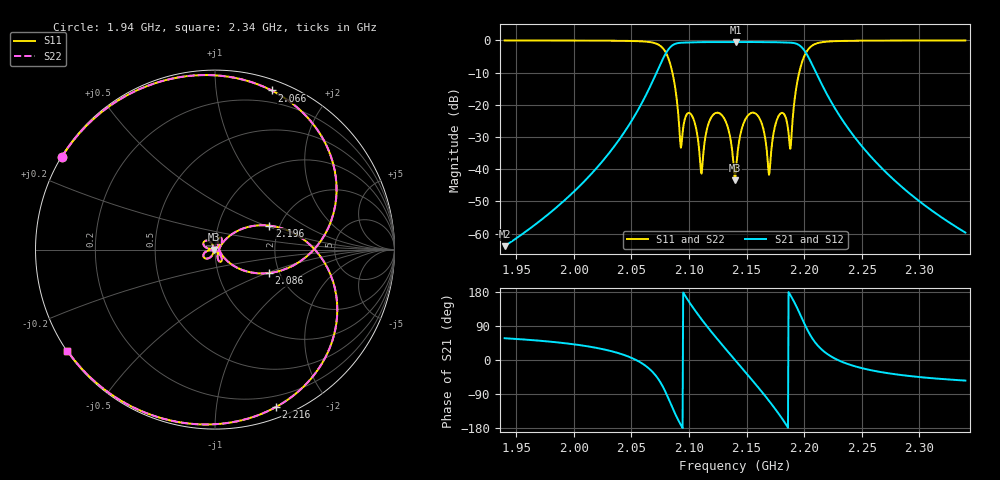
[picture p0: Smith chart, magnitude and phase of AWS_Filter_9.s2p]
!Port 1 is shunt  connected
!Port 2 is shunt  connected
!prototype= pole placed tchebycheff
!n=  5,  np= 0,  rl=  22.000dB
!transform= band pass
!f0= 2140.000MHz,  bw=  100.000MHz, q0=1200.000
!fstart= 1940.000MHz, fstep=  0.500MHz, fstop= 2340.000MHz
# MHZ S MA R 50
!Freq  Mag(S11)  Arg(S11)  Mag(S21)  Arg(S21)  Mag(S12)  Arg(S12)  Mag(S22)  Arg(S22)
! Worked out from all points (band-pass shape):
!   801 points, 1.94 GHz to 2.34 GHz, reference 50 ohm
!   highest |S21| = -0.48 dB at 2.14 GHz (marker M1); lowest = -63.9 dB at 1.94 GHz (marker M2)
!   |S21| within 3 dB of the highest: 2.081 GHz to 2.201 GHz (120 MHz wide, 5.61 % of centre)
!   lowest |S11| = -43.4 dB at 2.14 GHz (marker M3), VSWR 1.01, Z = 49.3 - j0.000127 ohm
!   |S11| at or under -10 dB: 2.086 GHz to 2.196 GHz (110.1 MHz wide, 5.14 % of centre)
!   |S22| runs from -43.4 to 0.0 dB; largest |S21 - S12| = 0
!   S11 on the Smith chart (normalised r, x): 1.94 GHz: 0.00, +0.28; 2.066 GHz: 0.09, +1.41; 2.086 GHz: 1.75, -0.51; 2.196 GHz: 1.77, +0.53; 2.216 GHz: 0.10, -1.46; 2.34 GHz: 0.00, -0.31
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1940  0.9973 148.8  0.0006386 57.4  0.0006386 57.4  0.9973 148.8
2007  0.9933 130.6  0.005916 38.5  0.005916 38.5  0.9933 130.6
2066  0.9413 70.4  0.1864 -24.3  0.1864 -24.3  0.9413 70.4
2073.5  0.8597 45.2  0.3652 -50.6  0.3652 -50.6  0.8597 45.2
2085.5  0.3258 -23.7  0.8344 -124.6  0.8344 -124.6  0.3258 -23.7
2093  0.02159 15.4  0.9184 -171.4  0.9184 -171.4  0.02159 15.4
2101.5  0.07234 59.5  0.9303 147.3  0.9303 147.3  0.07234 59.5
2112.5  0.01755 164.3  0.94 101.3  0.94 101.3  0.01755 164.3
2117.5  0.05405 166.2  0.9409 81.9  0.9409 81.9  0.05405 166.2
2126  0.07458 141.1  0.942 50.3  0.942 50.3  0.07458 141.1
2140  0.00673 -180.0  0.946 -0.0  0.946 -0.0  0.00673 -180.0
2140.5  0.007712 -152.4  0.946 -1.8  0.946 -1.8  0.007712 -152.4
2154  0.07452 -140.8  0.9427 -49.9  0.9427 -49.9  0.07452 -140.8
2162.5  0.05545 -165.7  0.9421 -81.0  0.9421 -81.0  0.05545 -165.7
2168  0.01639 -163.4  0.9414 -101.8  0.9414 -101.8  0.01639 -163.4
2179.5  0.07327 -60.4  0.9323 -148.6  0.9323 -148.6  0.07327 -60.4
2188  0.02069 -18.5  0.922 171.6  0.922 171.6  0.02069 -18.5
2196  0.3316 23.7  0.8371 124.1  0.8371 124.1  0.3316 23.7
2207  0.8299 -38.2  0.4215 57.5  0.4215 57.5  0.8299 -38.2
2216  0.9404 -68.8  0.197 25.7  0.197 25.7  0.9404 -68.8
2273.5  0.9931 -127.2  0.008116 -35.2  0.008116 -35.2  0.9931 -127.2
2340  0.9973 -145.6  0.001037 -54.3  0.001037 -54.3  0.9973 -145.6
